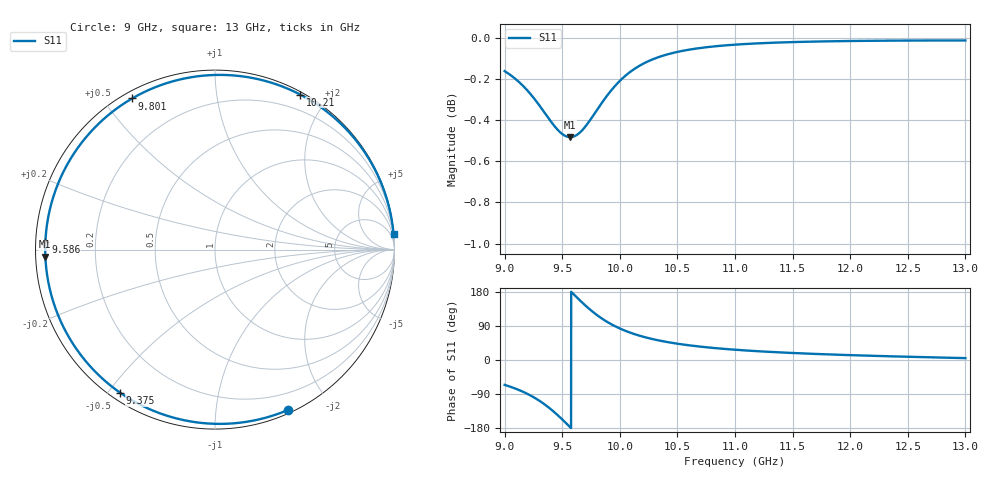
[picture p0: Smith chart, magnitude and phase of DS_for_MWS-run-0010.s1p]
! TOUCHSTONE file generated by CST DESIGN STUDIO
! Date and time: Wed Feb  5 13:18:24 2025
! Project name: C:\Work\MatlabApps\UnitCellOptimizationMatlab\CST\unitcell.cst
! Tree item: Tasks\Sweep1\SPara1\S-Parameters
! Header version: 2024
! Port assignment regex: !\s*Touchstone port\s*([0-9]+)\s*=\s*(CST MWS port|CST DES external port|CST DES block port)\s*(.+)\s* \(\"(.*)\"\)(\s*mode\s*([0-9]+))?.*
! Touchstone port assignment:
! Touchstone port 1 = CST DES external port 1 ("")
# GHz S MA R 50
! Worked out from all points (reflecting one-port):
!   4001 points, 9 GHz to 13 GHz, reference 50 ohm
!   lowest |S11| = -0.5 dB at 9.57 GHz (marker M1), VSWR 35.98, Z = 1.39 - j1.04 ohm
!   phase of S11 starts at -66 deg and turns -289 deg over the sweep
!   S11 on the Smith chart (normalised r, x): 9 GHz: 0.03, -1.55; 9.375 GHz: 0.03, -0.54; 9.586 GHz: 0.03, +0.02; 9.801 GHz: 0.03, +0.59; 10.21 GHz: 0.03, +1.69; 13 GHz: 0, +23
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9  0.9815 -65.6
9.045  0.9796 -70.1
9.112  0.9763 -77.6
9.227  0.9688 -94.0
9.305  0.9626 -108.2
9.375  0.9565 -123.5
9.436  0.9515 -138.8
9.5  0.9476 -156.7
9.536  0.9463 -167.4
9.57  0.9459 -177.6
9.586  0.946 177.5
9.641  0.9477 161.0
9.701  0.9515 143.9
9.751  0.9558 130.7
9.801  0.9603 118.8
9.844  0.9642 109.5
9.891  0.9683 100.4
10  0.9762 83.2
10.098  0.9815 71.3
10.205  0.9857 61.2
10.34  0.9893 51.5
10.5  0.9921 43.0
10.721  0.9945 34.5
11  0.9962 27.1
11.5  0.9976 18.5
12  0.9982 12.8
12.5  0.9985 8.5
13  0.9985 4.9
